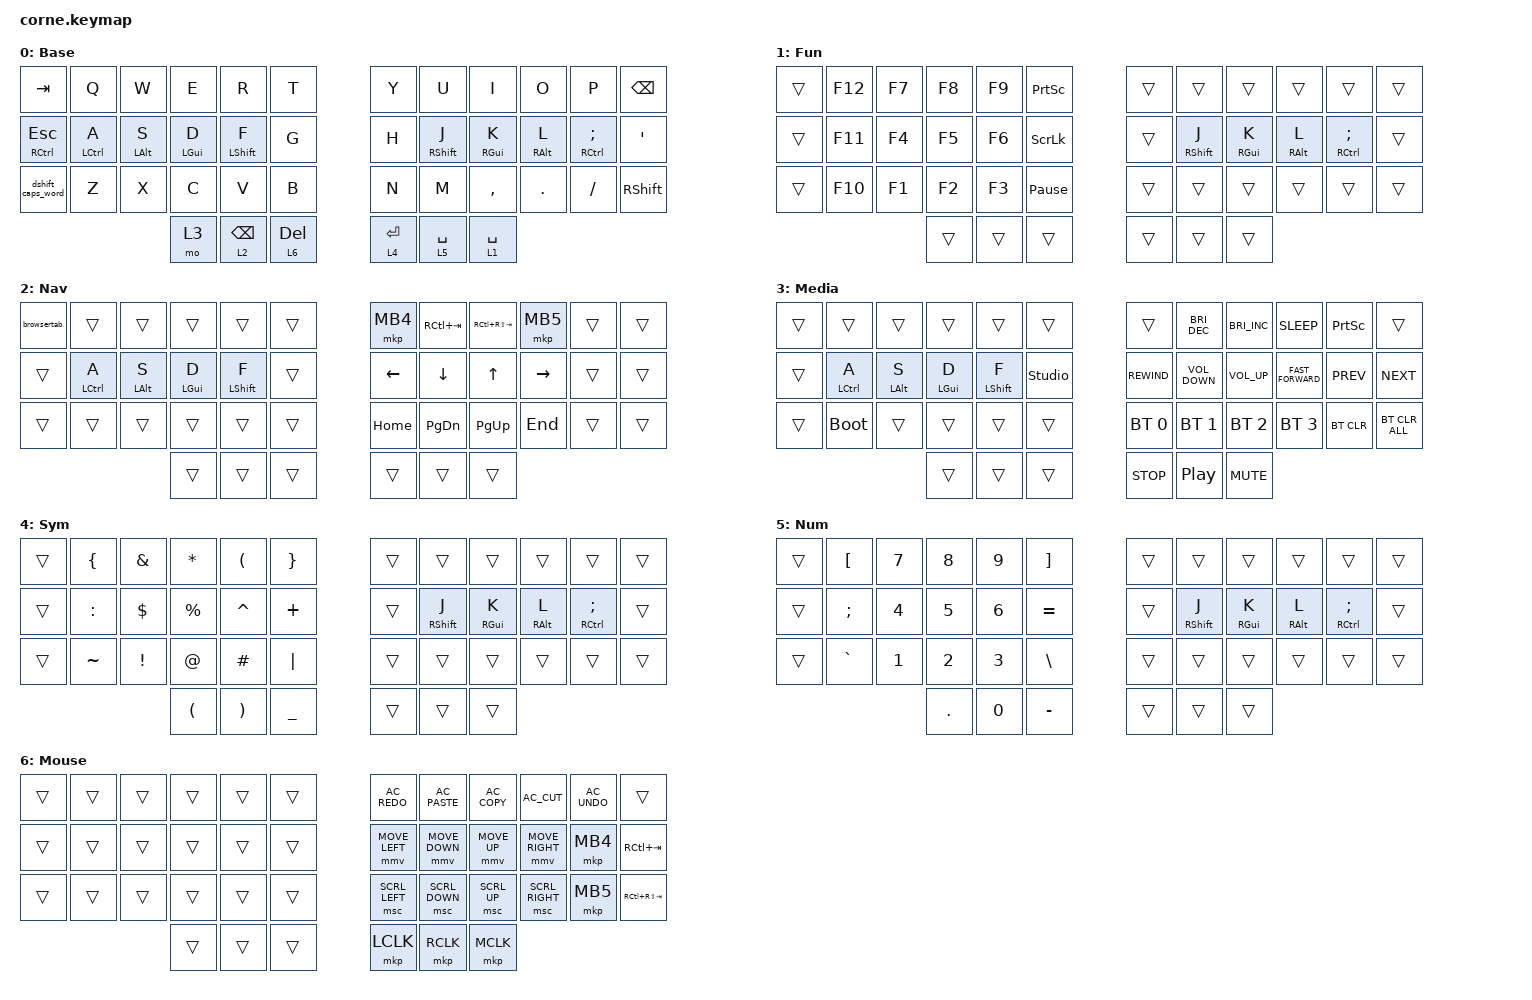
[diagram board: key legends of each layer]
#define ZMK_POINTING_DEFAULT_MOVE_VAL 1000  // default: 600
#define ZMK_POINTING_DEFAULT_SCRL_VAL 20    // default: 10

#include <behaviors.dtsi>
#include <dt-bindings/zmk/bt.h>
#include <dt-bindings/zmk/keys.h>
#include <dt-bindings/zmk/pointing.h>
#include <dt-bindings/zmk/pointing.h>
#include <dt-bindings/zmk/pointing.h>

/ {
    behaviors {
        hm: homerow_mods {
            compatible = "zmk,behavior-hold-tap";
            label = "HOMEROW_MODS";
            #binding-cells = <2>;
            tapping-term-ms = <350>;
            flavor = "tap-preferred";
            bindings = <&kp>, <&kp>;

            quick-tap-ms = <300>;
            require-prior-idle-ms = <300>;
        };

        para: para {
            compatible = "zmk,behavior-tap-dance";
            label = "PARA";
            #binding-cells = <0>;
            bindings = <&kp LEFT_PARENTHESIS>, <&kp RIGHT_PARENTHESIS>;
        };

        caps: caps {
            compatible = "zmk,behavior-caps-word";
            label = "CAPS";
            #binding-cells = <0>;
            continue-list = <MINUS BACKSPACE>;
        };

        paraless: paraless {
            compatible = "zmk,behavior-mod-morph";
            label = "PARALESS";
            bindings = <&kp LEFT_PARENTHESIS>, <&kp LESS_THAN>;

            #binding-cells = <0>;
            mods = <(MOD_LSFT)>;
        };

        paragreat: paragreat {
            compatible = "zmk,behavior-mod-morph";
            label = "PARAGREAT";
            bindings = <&kp RIGHT_PARENTHESIS>, <&kp GREATER_THAN>;

            #binding-cells = <0>;
            mods = <(MOD_LSFT)>;
        };

        dshift_caps_word: dshift_caps_word {
            compatible = "zmk,behavior-tap-dance";
            label = "DSHIFT_CAPS_WORD";
            #binding-cells = <0>;
            bindings = <&kp LEFT_SHIFT>, <&caps_word>;

            tapping-term-ms = <310>;
        };

        spl: spl {
            compatible = "zmk,behavior-hold-tap";
            label = "SPL";
            bindings = <&mo>, <&kp>;

            #binding-cells = <2>;
            tapping-term-ms = <350>;
            quick-tap-ms = <300>;
            require-prior-idle-ms = <300>;
            flavor = "tap-preferred";
        };
    };

    macros {
        browsertab: browsertab {
            compatible = "zmk,behavior-macro";
            #binding-cells = <0>;
            bindings =
                <&macro_press>,
                <&kp LCTRL>,
                <&macro_tap>,
                <&kp TAB>,
                <&macro_release>,
                <&kp LCTRL>;
        };
    };

    combos {
        compatible = "zmk,combos";

        escape {
            bindings = <&kp ESCAPE>;
            key-positions = <13 29>;
        };

        delete {
            bindings = <&kp DELETE>;
            key-positions = <15 21>;
        };

        perc {
            bindings = <&kp PERCENT>;
            key-positions = <5 17>;
        };

        equal {
            bindings = <&kp EQUAL>;
            key-positions = <28 16>;
        };

        dollar {
            bindings = <&kp DOLLAR>;
            key-positions = <4 16>;
        };

        pound {
            bindings = <&kp POUND>;
            key-positions = <3 15>;
        };

        at {
            bindings = <&kp AT>;
            key-positions = <2 14>;
        };

        backslash {
            bindings = <&kp BACKSLASH>;
            key-positions = <26 14>;
        };

        copy {
            bindings = <&kp K_COPY>;
            key-positions = <28 27>;
        };

        paste {
            bindings = <&kp K_PASTE>;
            key-positions = <26 27>;
        };

        star {
            bindings = <&kp STAR>;
            key-positions = <8 20>;
        };

        slash {
            bindings = <&kp SLASH>;
            key-positions = <32 20>;
        };

        plus {
            bindings = <&kp PLUS>;
            key-positions = <7 19>;
        };

        minus {
            bindings = <&kp KP_MINUS>;
            key-positions = <31 19>;
        };

        underscore {
            bindings = <&kp UNDER>;
            key-positions = <30 18>;
        };

        leftbrack {
            bindings = <&kp LEFT_BRACKET>;
            key-positions = <31 32>;
        };

        rightbrack {
            bindings = <&kp RIGHT_BRACKET>;
            key-positions = <33 32>;
        };

        para-less {
            bindings = <&paraless>;
            key-positions = <20 19>;
        };

        para-great {
            bindings = <&paragreat>;
            key-positions = <20 21>;
        };
    };

    //

    keymap {
        compatible = "zmk,keymap";

        Base {
            display-name = "Base";

            // -----------------------------------------------------------------------------------------
            // |  Q  |  W  |  E  |  R  |  T  |   |  Y  |  U   |  I  |  O  |  P  |
            // |  A  |  S  |  D  |  F  |  G  |   |  H  |  J   |  K  |  L  |  ;  |
            // |  Z  |  X  |  C  |  V  |  B  |   |  N  |  M   |  ,  |  .  |  /  |
            // | GUI | CTRL | SHFT | LWR | SPC |   | ENT | RSE  | BKSP | ALT | ESC |

            bindings = <
&kp TAB                   &kp Q               &kp W           &kp E           &kp R             &kp T            &kp Y         &kp U              &kp I            &kp O            &kp P                &kp BACKSPACE
&mt RIGHT_CONTROL ESCAPE  &hm LEFT_CONTROL A  &hm LEFT_ALT S  &hm LEFT_GUI D  &hm LEFT_SHIFT F  &kp G            &kp H         &hm RIGHT_SHIFT J  &hm RIGHT_GUI K  &hm RIGHT_ALT L  &hm RCTRL SEMICOLON  &kp SQT
&dshift_caps_word         &kp Z               &kp X           &kp C           &kp V             &kp B            &kp N         &kp M              &kp COMMA        &kp PERIOD       &kp SLASH            &kp RIGHT_SHIFT
                                                              &mo 3           &spl 2 BACKSPACE  &spl 6 DELETE    &spl 4 ENTER  &spl 5 SPACE       &spl 1 SPACE
            >;

            label = "Base";
        };

        Fun {
            bindings = <
&trans  &kp F12  &kp F7  &kp F8  &kp F9  &kp PRINTSCREEN    &trans  &trans             &trans           &trans           &trans               &trans
&trans  &kp F11  &kp F4  &kp F5  &kp F6  &kp SCROLLLOCK     &trans  &hm RIGHT_SHIFT J  &hm RIGHT_GUI K  &hm RIGHT_ALT L  &hm RCTRL SEMICOLON  &trans
&trans  &kp F10  &kp F1  &kp F2  &kp F3  &kp PAUSE_BREAK    &trans  &trans             &trans           &trans           &trans               &trans
                         &trans  &trans  &trans             &trans  &trans             &trans
            >;

            label = "Fun";
        };

        NAV {
            bindings = <
&browsertab  &trans              &trans          &trans          &trans            &trans    &mkp MB4        &kp RC(TAB)    &kp RC(RS(TAB))  &mkp MB5   &trans  &trans
&trans       &hm LEFT_CONTROL A  &hm LEFT_ALT S  &hm LEFT_GUI D  &hm LEFT_SHIFT F  &trans    &kp LEFT_ARROW  &kp DOWN       &kp UP           &kp RIGHT  &trans  &trans
&trans       &trans              &trans          &trans          &trans            &trans    &kp HOME        &kp PAGE_DOWN  &kp PAGE_UP      &kp END    &trans  &trans
                                                 &trans          &trans            &trans    &trans          &trans         &trans
            >;

            label = "Nav";
        };

        Media {
            bindings = <
&trans  &trans              &trans          &trans          &trans            &trans            &trans        &kp C_BRIGHTNESS_DEC  &kp C_BRIGHTNESS_INC  &kp C_SLEEP         &kp PRINTSCREEN  &trans
&trans  &hm LEFT_CONTROL A  &hm LEFT_ALT S  &hm LEFT_GUI D  &hm LEFT_SHIFT F  &studio_unlock    &kp C_REWIND  &kp C_VOLUME_DOWN     &kp C_VOLUME_UP       &kp C_FAST_FORWARD  &kp C_PREV       &kp C_NEXT
&trans  &bootloader         &trans          &trans          &trans            &trans            &bt BT_SEL 0  &bt BT_SEL 1          &bt BT_SEL 2          &bt BT_SEL 3        &bt BT_CLR       &bt BT_CLR_ALL
                                            &trans          &trans            &trans            &kp C_STOP    &kp C_PLAY_PAUSE      &kp C_MUTE
            >;

            label = "Media";
        };

        Sym {
            bindings = <
&trans  &kp LEFT_BRACE  &kp AMPERSAND    &kp ASTERISK          &kp LEFT_PARENTHESIS   &kp RIGHT_BRACE    &trans  &trans             &trans           &trans           &trans               &trans
&trans  &kp COLON       &kp DOLLAR       &kp PERCENT           &kp CARET              &kp PLUS           &trans  &hm RIGHT_SHIFT J  &hm RIGHT_GUI K  &hm RIGHT_ALT L  &hm RCTRL SEMICOLON  &trans
&trans  &kp TILDE       &kp EXCLAMATION  &kp AT                &kp HASH               &kp PIPE           &trans  &trans             &trans           &trans           &trans               &trans
                                         &kp LEFT_PARENTHESIS  &kp RIGHT_PARENTHESIS  &kp UNDER          &trans  &trans             &trans
            >;

            label = "Sym";
        };

        Num {
            bindings = <
&trans  &kp LEFT_BRACKET  &kp N7  &kp N8   &kp N9  &kp RIGHT_BRACKET    &trans  &trans             &trans           &trans           &trans               &trans
&trans  &kp SEMICOLON     &kp N4  &kp N5   &kp N6  &kp EQUAL            &trans  &hm RIGHT_SHIFT J  &hm RIGHT_GUI K  &hm RIGHT_ALT L  &hm RCTRL SEMICOLON  &trans
&trans  &kp GRAVE         &kp N1  &kp N2   &kp N3  &kp BACKSLASH        &trans  &trans             &trans           &trans           &trans               &trans
                                  &kp DOT  &kp N0  &kp MINUS            &trans  &trans             &trans
            >;

            label = "Num";
        };

        Mouse {
            bindings = <
&trans  &trans  &trans  &trans  &trans  &trans    &kp C_AC_REDO   &kp C_AC_PASTE  &kp C_AC_COPY  &kp C_AC_CUT     &kp C_AC_UNDO  &trans
&trans  &trans  &trans  &trans  &trans  &trans    &mmv MOVE_LEFT  &mmv MOVE_DOWN  &mmv MOVE_UP   &mmv MOVE_RIGHT  &mkp MB4       &kp RC(TAB)
&trans  &trans  &trans  &trans  &trans  &trans    &msc SCRL_LEFT  &msc SCRL_DOWN  &msc SCRL_UP   &msc SCRL_RIGHT  &mkp MB5       &kp RC(RS(TAB))
                        &trans  &trans  &trans    &mkp LCLK       &mkp RCLK       &mkp MCLK
            >;

            label = "Mouse";
        };
    };

    conditional_layers {
        compatible = "zmk,conditional-layers";

        l3 {
            if-layers = <1 1>;
            then-layer = <1>;
        };
    };
};
